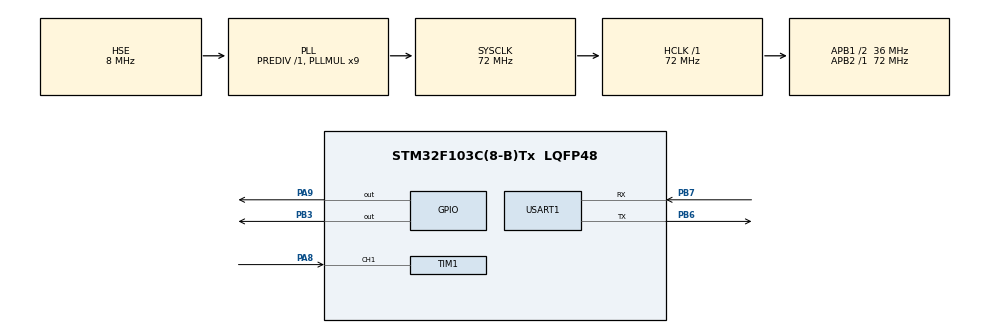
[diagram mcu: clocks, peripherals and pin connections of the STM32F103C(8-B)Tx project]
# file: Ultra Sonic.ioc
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Mcu.Family=STM32F1
Mcu.Name=STM32F103C(8-B)Tx
Mcu.Package=LQFP48
NVIC.PriorityGroup=NVIC_PRIORITYGROUP_4
NVIC.TIM1_CC_IRQn=true\:0\:0\:false\:false\:true\:true\:true
PA13.Mode=Serial_Wire
PA13.Signal=SYS_JTMS-SWDIO
PA14.Mode=Serial_Wire
PA14.Signal=SYS_JTCK-SWCLK
PA8.Signal=S_TIM1_CH1
PA9.Signal=GPIO_Output
PB3.Signal=GPIO_Output
PB6.Mode=Asynchronous
PB6.Signal=USART1_TX
PB7.Mode=Asynchronous
PB7.Signal=USART1_RX
PD0-OSC_IN.Mode=HSE-External-Oscillator
PD0-OSC_IN.Signal=RCC_OSC_IN
PD1-OSC_OUT.Mode=HSE-External-Oscillator
PD1-OSC_OUT.Signal=RCC_OSC_OUT
ProjectManager.HeapSize=0x200
ProjectManager.StackSize=0x400
ProjectManager.TargetToolchain=MDK-ARM V5.32
RCC.AHBFreq_Value=72000000
RCC.APB1CLKDivider=RCC_HCLK_DIV2
RCC.APB1Freq_Value=36000000
RCC.APB1TimFreq_Value=72000000
RCC.APB2Freq_Value=72000000
RCC.APB2TimFreq_Value=72000000
RCC.HCLKFreq_Value=72000000
RCC.PLLMUL=RCC_PLL_MUL9
RCC.PLLSourceVirtual=RCC_PLLSOURCE_HSE
RCC.SYSCLKFreq_VALUE=72000000
RCC.SYSCLKSource=RCC_SYSCLKSOURCE_PLLCLK
RCC.USBFreq_Value=72000000
SH.S_TIM1_CH1.0=TIM1_CH1,Input_Capture1_from_TI1
TIM1.Channel-Input_Capture1_from_TI1=TIM_CHANNEL_1
TIM1.Period=0xffff-1
TIM1.Prescaler=72-1
USART1.VirtualMode=VM_ASYNC
VP_TIM1_VS_ClockSourceINT.Mode=Internal
board=custom

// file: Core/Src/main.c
/* USER CODE BEGIN Header */
/**
  ******************************************************************************
  * @file           : main.c
  * @brief          : Main program body
  ******************************************************************************
  * @attention
  *
  * <h2><center>&copy; Copyright (c) 2022 STMicroelectronics.
  * All rights reserved.</center></h2>
  *
  * This software component is licensed by ST under BSD 3-Clause license,
  * the "License"; You may not use this file except in compliance with the
  * License. You may obtain a copy of the License at:
  *                        opensource.org/licenses/BSD-3-Clause
  *
  ******************************************************************************
  */
/* USER CODE END Header */
#include "main.h"
#include "tim.h"
#include "usart.h"
#include "gpio.h"

/* USER CODE BEGIN PM */
#define SENSOR_PORT GPIOA
#define TRIG GPIO_PIN_9
#define ECHO GPIO_PIN_8

#define UART_PORT GPIOB
#define TX GPIO_PIN_6
#define RX_GPIO_PIN_7
/* USER CODE END PM */

/* USER CODE BEGIN PV */
uint32_t local_time, sensor_time;
uint32_t distance;

uint8_t tx_data = 'a';
/* USER CODE END PV */

void SystemClock_Config(void);
/* USER CODE BEGIN PFP */
void delay_us(uint16_t us)
{
	__HAL_TIM_SET_COUNTER(&htim1, 0);
	while(__HAL_TIM_GET_COUNTER(&htim1) < us);
}

uint32_t HCSR04_read (void)
{
	local_time=0;
	HAL_GPIO_WritePin(SENSOR_PORT, TRIG, GPIO_PIN_RESET);  // pull the TRIG pin HIGH
	delay_us(2);  // wait for 2 us

	HAL_GPIO_WritePin(SENSOR_PORT, TRIG, GPIO_PIN_SET);  // pull the TRIG pin HIGH
	delay_us(10);  // wait for 10 us
	HAL_GPIO_WritePin(SENSOR_PORT, TRIG, GPIO_PIN_RESET);  // pull the TRIG pin low

	// read the time for which the pin is high

	while (!(HAL_GPIO_ReadPin(SENSOR_PORT, ECHO)));  // wait for the ECHO pin to go high
	while (HAL_GPIO_ReadPin(SENSOR_PORT, ECHO))    // while the pin is high
  {
		local_time++;   // measure time for which the pin is high
    delay_us(1);
  }
	return local_time;
}
/* USER CODE END PFP */

int main(void)
{

  /* MCU Configuration--------------------------------------------------------*/

  /* Reset of all peripherals, Initializes the Flash interface and the Systick. */
  HAL_Init();

  /* Configure the system clock */
  SystemClock_Config();

  /* Initialize all configured peripherals */
  MX_GPIO_Init();
  MX_TIM1_Init();
  MX_USART1_UART_Init();
  /* USER CODE BEGIN 2 */
	HAL_TIM_Base_Start(&htim1);
  /* USER CODE END 2 */

  /* Infinite loop */
  while (1)
  {

    /* USER CODE BEGIN 3 */
		sensor_time = HCSR04_read();
		distance = sensor_time * 0.034/2;

		if(distance <= 10)
		{
			HAL_UART_Transmit(&huart1, &tx_data, 1, 10);
			HAL_GPIO_WritePin(GPIOB, GPIO_PIN_3, GPIO_PIN_SET);
		}
		else
		{
			HAL_GPIO_WritePin(GPIOB, GPIO_PIN_3, GPIO_PIN_RESET);
		}
		HAL_Delay(100);
  }
  /* USER CODE END 3 */
}

void SystemClock_Config(void)
{
  RCC_OscInitTypeDef RCC_OscInitStruct = {0};
  RCC_ClkInitTypeDef RCC_ClkInitStruct = {0};

  /** Initializes the RCC Oscillators according to the specified parameters
  * in the RCC_OscInitTypeDef structure.
  */
  RCC_OscInitStruct.OscillatorType = RCC_OSCILLATORTYPE_HSE;
  RCC_OscInitStruct.HSEState = RCC_HSE_ON;
  RCC_OscInitStruct.HSEPredivValue = RCC_HSE_PREDIV_DIV1;
  RCC_OscInitStruct.HSIState = RCC_HSI_ON;
  RCC_OscInitStruct.PLL.PLLState = RCC_PLL_ON;
  RCC_OscInitStruct.PLL.PLLSource = RCC_PLLSOURCE_HSE;
  RCC_OscInitStruct.PLL.PLLMUL = RCC_PLL_MUL9;
  if (HAL_RCC_OscConfig(&RCC_OscInitStruct) != HAL_OK)
  {
    Error_Handler();
  }
  /** Initializes the CPU, AHB and APB buses clocks
  */
  RCC_ClkInitStruct.ClockType = RCC_CLOCKTYPE_HCLK|RCC_CLOCKTYPE_SYSCLK
                              |RCC_CLOCKTYPE_PCLK1|RCC_CLOCKTYPE_PCLK2;
  RCC_ClkInitStruct.SYSCLKSource = RCC_SYSCLKSOURCE_PLLCLK;
  RCC_ClkInitStruct.AHBCLKDivider = RCC_SYSCLK_DIV1;
  RCC_ClkInitStruct.APB1CLKDivider = RCC_HCLK_DIV2;
  RCC_ClkInitStruct.APB2CLKDivider = RCC_HCLK_DIV1;

  if (HAL_RCC_ClockConfig(&RCC_ClkInitStruct, FLASH_LATENCY_2) != HAL_OK)
  {
    Error_Handler();
  }
}

void Error_Handler(void)
{
  __disable_irq();
  while (1)
  {
  }
}

/************************ (C) COPYRIGHT STMicroelectronics *****END OF FILE****/
